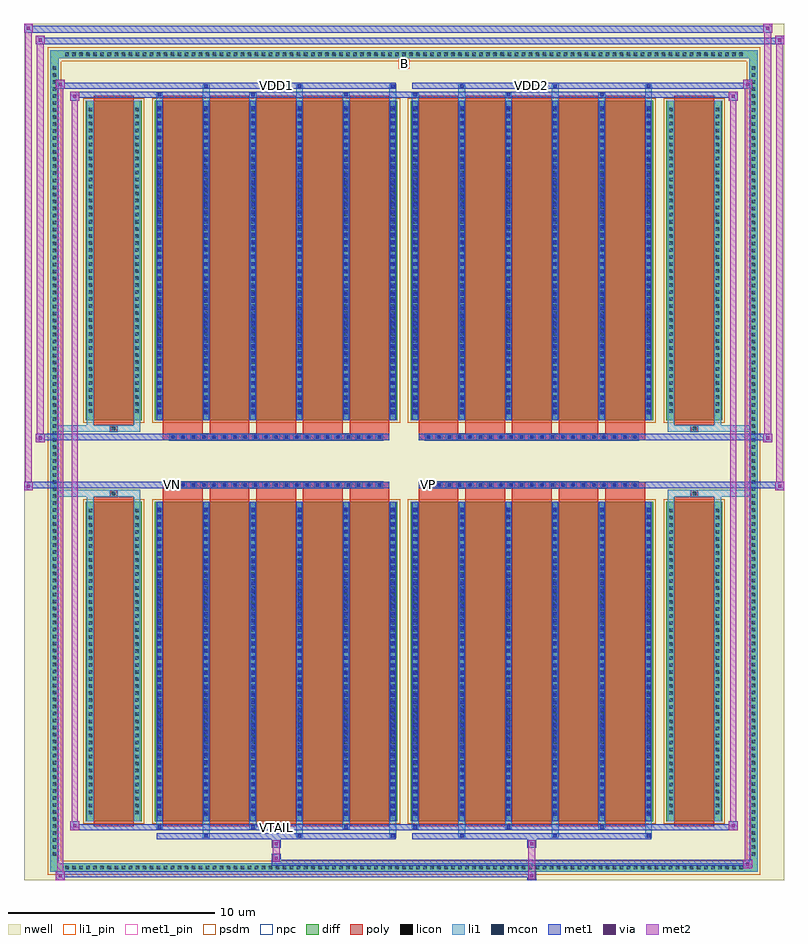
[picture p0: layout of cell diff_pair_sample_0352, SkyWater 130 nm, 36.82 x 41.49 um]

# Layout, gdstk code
import gdstk
lib = gdstk.Library(unit=1e-6, precision=5e-09)
def R(c, l, rs):  # rectangles x0, y0, x1, y1
    for r in rs: c.add(gdstk.rectangle(r[:2], r[2:], *l))
def A(c, l, x, y, w, h, nx, ny, dx, dy):  # array of equal rectangles
    R(c, l, [(x+i*dx, y+j*dy, x+i*dx+w, y+j*dy+h) for i in range(nx) for j in range(ny)])
def P(c, l, *ps):  # polygons
    for p in ps: c.add(gdstk.Polygon(p, *l))
nwell = (64, 20)
diff = (65, 20)
poly = (66, 20)
licon = (66, 44)
li1_pin = (67, 16)
li1 = (67, 20)
mcon = (67, 44)
met1_pin = (68, 16)
met1 = (68, 20)
via = (68, 44)
met2 = (69, 20)
psdm = (94, 20)
npc = (95, 20)

diff_pair_sample_0352 = lib.new_cell('diff_pair_sample_0352')
R(diff_pair_sample_0352, nwell, [(-18.41,-20.31,18.41,21.18), (-15.73,-18.5,-0.01,-0.8), (0.01,-18.5,15.73,-0.8), (-15.73,0.8,-0.01,18.5), (0.01,0.8,15.73,18.5)])
A(diff_pair_sample_0352, diff, -16.525, -19.91, 0.41, 0.41, 97, 2, 0.34, 39.41)
A(diff_pair_sample_0352, diff, -17.14, -19.245, 0.41, 0.41, 1, 113, 0, 0.34)
A(diff_pair_sample_0352, diff, 16.73, -19.245, 0.41, 0.41, 1, 113, 0, 0.34)
R(diff_pair_sample_0352, diff, [(-16.525,-19.91,16.525,-19.5), (-17.14,-19.245,-16.73,19.245), (16.73,-19.245,17.14,19.245), (-15.42,-17.455,-12.71,-1.985), (-12.07,-17.455,-0.32,-1.985), (0.32,-17.455,12.07,-1.985), (12.71,-17.455,15.42,-1.985), (-15.42,1.985,-12.71,17.455), (-12.07,1.985,-0.32,17.455), (0.32,1.985,12.07,17.455), (12.71,1.985,15.42,17.455), (-16.525,19.5,16.525,19.91)])
P(diff_pair_sample_0352, diff, [(17.14,19.91),(-17.14,19.91),(-17.14,-19.5),(-16.73,-19.5),(-16.73,19.5),(16.73,19.5),(16.73,-19.5),(-16.73,-19.5),(-17.14,-19.5),(-17.14,-19.91),(17.14,-19.91)])
A(diff_pair_sample_0352, poly, -11.68, -17.705, 1.93, 15.97, 5, 2, 2.26, 19.44)
A(diff_pair_sample_0352, poly, 0.71, -17.705, 1.93, 15.97, 5, 2, 2.26, 19.44)
A(diff_pair_sample_0352, poly, -11.68, -1.735, 1.93, 0.405, 5, 2, 2.26, 3.065)
A(diff_pair_sample_0352, poly, 0.71, -1.735, 1.93, 0.405, 5, 2, 2.26, 3.065)
A(diff_pair_sample_0352, poly, -11.36, -1.33, 0.33, 0.33, 21, 2, 0.5, 2.33)
A(diff_pair_sample_0352, poly, 1.03, -1.33, 0.33, 0.33, 21, 2, 0.5, 2.33)
R(diff_pair_sample_0352, poly, [(-15.03,-17.705,-13.1,-1.735), (13.1,-17.705,15.03,-1.735), (-14.23,-1.735,-13.9,-1.405), (-14.23,-1.735,-13.9,-1.405), (13.9,-1.735,14.23,-1.405), (13.9,-1.735,14.23,-1.405), (-11.68,-1.33,-0.71,-1), (0.71,-1.33,11.68,-1), (-11.68,1,-0.71,1.33), (0.71,1,11.68,1.33), (-14.23,1.405,-13.9,1.735), (-14.23,1.405,-13.9,1.735), (13.9,1.405,14.23,1.735), (13.9,1.405,14.23,1.735), (-15.03,1.735,-13.1,17.705), (13.1,1.735,15.03,17.705)])
A(diff_pair_sample_0352, licon, -16.405, -19.79, 0.17, 0.17, 97, 2, 0.34, 39.41)
A(diff_pair_sample_0352, licon, -17.02, -19.125, 0.17, 0.17, 1, 113, 0, 0.34)
A(diff_pair_sample_0352, licon, 16.85, -19.125, 0.17, 0.17, 1, 113, 0, 0.34)
A(diff_pair_sample_0352, licon, -15.28, -17.115, 0.17, 0.17, 1, 44, 0, 0.34)
A(diff_pair_sample_0352, licon, -13.02, -17.115, 0.17, 0.17, 1, 44, 0, 0.34)
A(diff_pair_sample_0352, licon, -11.93, -17.115, 0.17, 0.17, 6, 44, 2.26, 0.34)
A(diff_pair_sample_0352, licon, 0.46, -17.115, 0.17, 0.17, 6, 44, 2.26, 0.34)
A(diff_pair_sample_0352, licon, 12.85, -17.115, 0.17, 0.17, 1, 44, 0, 0.34)
A(diff_pair_sample_0352, licon, 15.11, -17.115, 0.17, 0.17, 1, 44, 0, 0.34)
A(diff_pair_sample_0352, licon, -11.28, -1.25, 0.17, 0.17, 21, 2, 0.5, 2.33)
A(diff_pair_sample_0352, licon, 1.11, -1.25, 0.17, 0.17, 21, 2, 0.5, 2.33)
A(diff_pair_sample_0352, licon, -15.28, 2.325, 0.17, 0.17, 1, 44, 0, 0.34)
A(diff_pair_sample_0352, licon, -13.02, 2.325, 0.17, 0.17, 1, 44, 0, 0.34)
A(diff_pair_sample_0352, licon, -11.93, 2.325, 0.17, 0.17, 6, 44, 2.26, 0.34)
A(diff_pair_sample_0352, licon, 0.46, 2.325, 0.17, 0.17, 6, 44, 2.26, 0.34)
A(diff_pair_sample_0352, licon, 12.85, 2.325, 0.17, 0.17, 1, 44, 0, 0.34)
A(diff_pair_sample_0352, licon, 15.11, 2.325, 0.17, 0.17, 1, 44, 0, 0.34)
R(diff_pair_sample_0352, licon, [(-14.15,-1.655,-13.98,-1.485), (13.98,-1.655,14.15,-1.485), (-14.15,1.485,-13.98,1.655), (13.98,1.485,14.15,1.655)])
R(diff_pair_sample_0352, li1_pin, [(-0.25,19,0.25,19.5)])
A(diff_pair_sample_0352, li1, -16.485, -19.87, 0.33, 0.33, 97, 2, 0.34, 39.41)
A(diff_pair_sample_0352, li1, -17.1, -19.205, 0.33, 0.33, 1, 113, 0, 0.34)
A(diff_pair_sample_0352, li1, 16.77, -19.205, 0.33, 0.33, 1, 113, 0, 0.34)
A(diff_pair_sample_0352, li1, -9.75, -18.26, 0.33, 0.805, 3, 2, 4.52, 35.715)
A(diff_pair_sample_0352, li1, -9.67, -18.26, 0.17, 0.17, 3, 2, 4.52, 36.35)
A(diff_pair_sample_0352, li1, 2.64, -18.26, 0.33, 0.805, 3, 2, 4.52, 35.715)
A(diff_pair_sample_0352, li1, 2.72, -18.26, 0.17, 0.17, 3, 2, 4.52, 36.35)
A(diff_pair_sample_0352, li1, -12.01, -17.83, 0.33, 0.375, 3, 2, 4.52, 35.285)
A(diff_pair_sample_0352, li1, -11.93, -17.83, 0.17, 0.17, 3, 2, 4.52, 35.49)
A(diff_pair_sample_0352, li1, 0.38, -17.83, 0.33, 0.375, 3, 2, 4.52, 35.285)
A(diff_pair_sample_0352, li1, 0.46, -17.83, 0.17, 0.17, 3, 2, 4.52, 35.49)
A(diff_pair_sample_0352, li1, -12.01, -17.455, 0.33, 15.47, 6, 2, 2.26, 19.44)
A(diff_pair_sample_0352, li1, 0.38, -17.455, 0.33, 15.47, 6, 2, 2.26, 19.44)
A(diff_pair_sample_0352, li1, -15.36, -17.195, 0.33, 0.33, 1, 44, 0, 0.34)
A(diff_pair_sample_0352, li1, -13.1, -17.195, 0.33, 0.33, 1, 44, 0, 0.34)
A(diff_pair_sample_0352, li1, -12.01, -17.195, 0.33, 0.33, 6, 44, 2.26, 0.34)
A(diff_pair_sample_0352, li1, 0.38, -17.195, 0.33, 0.33, 6, 44, 2.26, 0.34)
A(diff_pair_sample_0352, li1, 12.77, -17.195, 0.33, 0.33, 1, 44, 0, 0.34)
A(diff_pair_sample_0352, li1, 15.03, -17.195, 0.33, 0.33, 1, 44, 0, 0.34)
A(diff_pair_sample_0352, li1, -11.93, -17.185, 0.17, 0.17, 6, 42, 2.26, 0.36)
A(diff_pair_sample_0352, li1, -11.93, -17.185, 0.17, 14.93, 6, 2, 2.26, 19.44)
A(diff_pair_sample_0352, li1, 0.46, -17.185, 0.17, 0.17, 6, 42, 2.26, 0.36)
A(diff_pair_sample_0352, li1, 0.46, -17.185, 0.17, 14.93, 6, 2, 2.26, 19.44)
A(diff_pair_sample_0352, li1, -11.36, -1.33, 0.33, 0.33, 21, 2, 0.5, 2.33)
A(diff_pair_sample_0352, li1, 1.03, -1.33, 0.33, 0.33, 21, 2, 0.5, 2.33)
A(diff_pair_sample_0352, li1, -15.36, 2.245, 0.33, 0.33, 1, 44, 0, 0.34)
A(diff_pair_sample_0352, li1, -13.1, 2.245, 0.33, 0.33, 1, 44, 0, 0.34)
A(diff_pair_sample_0352, li1, -12.01, 2.245, 0.33, 0.33, 6, 44, 2.26, 0.34)
A(diff_pair_sample_0352, li1, 0.38, 2.245, 0.33, 0.33, 6, 44, 2.26, 0.34)
A(diff_pair_sample_0352, li1, 12.77, 2.245, 0.33, 0.33, 1, 44, 0, 0.34)
A(diff_pair_sample_0352, li1, 15.03, 2.245, 0.33, 0.33, 1, 44, 0, 0.34)
A(diff_pair_sample_0352, li1, -11.93, 2.255, 0.17, 0.17, 6, 42, 2.26, 0.36)
A(diff_pair_sample_0352, li1, 0.46, 2.255, 0.17, 0.17, 6, 42, 2.26, 0.36)
R(diff_pair_sample_0352, li1, [(-17.14,-19.91,-16.73,-19.5), (-17.14,-19.91,-16.73,-19.5), (-16.73,-19.91,16.73,-19.5), (16.73,-19.91,17.14,-19.5), (16.73,-19.91,17.14,-19.5), (-17.14,-19.5,-16.73,19.5), (16.73,-19.5,17.14,19.5), (-15.36,-17.455,-15.03,-1.985), (-13.1,-17.455,-12.77,-1.985), (12.77,-17.455,13.1,-1.985), (15.03,-17.455,15.36,-1.985), (-15.36,-1.985,-15.03,-1.405), (-13.1,-1.985,-12.77,-1.405), (12.77,-1.985,13.1,-1.405), (15.03,-1.985,15.36,-1.405), (-17.14,-1.735,-14.23,-1.405), (-15.36,-1.735,-14.23,-1.405), (-14.23,-1.735,-13.9,-1.405), (-13.9,-1.735,-12.77,-1.405), (12.77,-1.735,13.9,-1.405), (13.9,-1.735,14.23,-1.405), (13.9,-1.735,17.14,-1.405), (14.23,-1.735,15.36,-1.405), (-17.14,1.405,-14.23,1.735), (-15.36,1.405,-14.23,1.735), (-15.36,1.405,-15.03,1.985), (-14.23,1.405,-13.9,1.735), (-13.9,1.405,-12.77,1.735), (-13.1,1.405,-12.77,1.985), (12.77,1.405,13.9,1.735), (12.77,1.405,13.1,1.985), (13.9,1.405,14.23,1.735), (13.9,1.405,17.14,1.735), (14.23,1.405,15.36,1.735), (15.03,1.405,15.36,1.985), (-15.36,1.985,-15.03,17.455), (-13.1,1.985,-12.77,17.455), (12.77,1.985,13.1,17.455), (15.03,1.985,15.36,17.455), (-17.14,19.5,-16.73,19.91), (-17.14,19.5,-16.73,19.91), (-16.73,19.5,16.73,19.91), (16.73,19.5,17.14,19.91), (16.73,19.5,17.14,19.91)])
A(diff_pair_sample_0352, mcon, -9.67, -18.26, 0.17, 0.17, 3, 2, 4.52, 36.35)
A(diff_pair_sample_0352, mcon, 2.72, -18.26, 0.17, 0.17, 3, 2, 4.52, 36.35)
A(diff_pair_sample_0352, mcon, -11.93, -17.83, 0.17, 0.17, 3, 2, 4.52, 35.49)
A(diff_pair_sample_0352, mcon, 0.46, -17.83, 0.17, 0.17, 3, 2, 4.52, 35.49)
A(diff_pair_sample_0352, mcon, -11.93, -17.185, 0.17, 0.17, 6, 42, 2.26, 0.36)
A(diff_pair_sample_0352, mcon, 0.46, -17.185, 0.17, 0.17, 6, 42, 2.26, 0.36)
A(diff_pair_sample_0352, mcon, -11.28, -1.25, 0.17, 0.17, 21, 2, 0.5, 2.33)
A(diff_pair_sample_0352, mcon, 1.11, -1.25, 0.17, 0.17, 21, 2, 0.5, 2.33)
A(diff_pair_sample_0352, mcon, -11.93, 2.255, 0.17, 0.17, 6, 42, 2.26, 0.36)
A(diff_pair_sample_0352, mcon, 0.46, 2.255, 0.17, 0.17, 6, 42, 2.26, 0.36)
R(diff_pair_sample_0352, met1_pin, [(-6.33,-17.87,-6.06,-17.6), (-11.33,-1.29,-11.06,-1.02), (1.06,-1.29,1.33,-1.02), (-6.33,18.05,-6.06,18.32), (6.06,18.05,6.33,18.32)])
A(diff_pair_sample_0352, met1, -9.73, -18.32, 0.29, 0.29, 3, 2, 4.52, 36.35)
A(diff_pair_sample_0352, met1, 2.66, -18.32, 0.29, 0.29, 3, 2, 4.52, 36.35)
A(diff_pair_sample_0352, met1, -11.99, -17.89, 0.29, 0.29, 3, 2, 4.52, 35.49)
A(diff_pair_sample_0352, met1, 0.4, -17.89, 0.29, 0.29, 3, 2, 4.52, 35.49)
A(diff_pair_sample_0352, met1, -11.99, -17.455, 0.29, 15.47, 6, 2, 2.26, 19.44)
A(diff_pair_sample_0352, met1, 0.4, -17.455, 0.29, 15.47, 6, 2, 2.26, 19.44)
A(diff_pair_sample_0352, met1, -11.99, -17.245, 0.29, 0.29, 6, 42, 2.26, 0.36)
A(diff_pair_sample_0352, met1, 0.4, -17.245, 0.29, 0.29, 6, 42, 2.26, 0.36)
A(diff_pair_sample_0352, met1, -11.34, -1.31, 0.29, 0.29, 21, 2, 0.5, 2.33)
A(diff_pair_sample_0352, met1, 1.05, -1.31, 0.29, 0.29, 21, 2, 0.5, 2.33)
A(diff_pair_sample_0352, met1, -11.99, 2.195, 0.29, 0.29, 6, 42, 2.26, 0.36)
A(diff_pair_sample_0352, met1, 0.4, 2.195, 0.29, 0.29, 6, 42, 2.26, 0.36)
R(diff_pair_sample_0352, met1, [(-16.87,-20.31,-16.44,-19.88), (5.98,-20.31,6.41,-19.88), (-16.87,-20.17,6.41,-19.88), (16.44,-19.74,16.87,-19.31), (-6.41,-19.6,16.87,-19.31), (-6.41,-19.46,-5.98,-19.03), (-6.41,-18.75,-5.98,-18.32), (5.98,-18.75,6.41,-18.32), (-11.99,-18.32,-0.4,-18.03), (0.4,-18.32,11.99,-18.03), (-16.16,-17.89,-15.73,-17.46), (-16.16,-17.89,-11.99,-17.6), (-11.99,-17.89,-0.4,-17.6), (-0.4,-17.89,0.4,-17.6), (0.4,-17.89,11.99,-17.6), (11.99,-17.89,16.16,-17.6), (15.73,-17.89,16.16,-17.46), (-18.41,-1.43,-17.98,-1), (17.98,-1.43,18.41,-1), (-18.41,-1.33,-0.71,-1), (-11.68,-1.33,-0.71,-1), (0.71,-1.33,11.68,-1), (0.71,-1.33,18.41,-1), (-17.84,0.9,-17.41,1.33), (17.41,0.9,17.84,1.33), (-17.84,1,-11.68,1.33), (-11.68,1,-0.71,1.33), (0.71,1,11.68,1.33), (11.68,1,17.84,1.33), (-16.16,17.46,-15.73,17.89), (15.73,17.46,16.16,17.89), (-16.16,17.6,-11.99,17.89), (-11.99,17.6,-0.4,17.89), (-0.4,17.6,0.4,17.89), (0.4,17.6,11.99,17.89), (11.99,17.6,16.16,17.89), (-16.87,18.03,-16.44,18.46), (-16.87,18.03,-11.99,18.32), (-11.99,18.03,-0.4,18.32), (0.4,18.03,11.99,18.32), (11.99,18.03,16.87,18.32), (16.44,18.03,16.87,18.46), (-17.84,20.18,-17.41,20.61), (-17.84,20.18,-15.73,20.51), (-15.73,20.18,15.73,20.51), (15.73,20.18,18.41,20.51), (17.98,20.18,18.41,20.61), (-18.41,20.75,-17.98,21.18), (-18.41,20.75,-15.73,21.08), (-15.73,20.75,15.73,21.08), (15.73,20.75,17.84,21.08), (17.41,20.75,17.84,21.18)])
R(diff_pair_sample_0352, via, [(-16.73,-20.17,-16.58,-20.02), (6.12,-20.17,6.27,-20.02), (16.58,-19.6,16.73,-19.45), (-6.27,-19.32,-6.12,-19.17), (-6.27,-18.61,-6.12,-18.46), (6.12,-18.61,6.27,-18.46), (-16.02,-17.75,-15.87,-17.6), (15.87,-17.75,16.02,-17.6), (-18.27,-1.29,-18.12,-1.14), (18.12,-1.29,18.27,-1.14), (-17.7,1.04,-17.55,1.19), (17.55,1.04,17.7,1.19), (-16.02,17.6,-15.87,17.75), (15.87,17.6,16.02,17.75), (-16.73,18.17,-16.58,18.32), (16.58,18.17,16.73,18.32), (-17.7,20.32,-17.55,20.47), (18.12,20.32,18.27,20.47), (-18.27,20.89,-18.12,21.04), (17.55,20.89,17.7,21.04)])
R(diff_pair_sample_0352, met2, [(-16.87,-20.31,-16.44,-19.88), (-16.8,-20.31,-16.51,18.46), (-16.51,-20.31,-16.44,-19.88), (-16.82,-20.26,-16.49,-19.93), (6.03,-20.26,6.36,-19.93), (6.03,-19.93,6.36,-18.7), (16.44,-19.74,16.87,-19.31), (16.51,-19.74,16.8,18.46), (16.8,-19.74,16.87,-19.31), (16.49,-19.69,16.82,-19.36), (-6.36,-19.41,-6.03,-19.08), (-6.36,-19.08,-6.03,-18.7), (-6.36,-18.7,-6.03,-18.37), (6.03,-18.7,6.36,-18.37), (-16.16,-17.89,-15.73,-17.46), (-16.09,-17.89,-15.8,17.89), (-15.8,-17.89,-15.73,-17.46), (15.73,-17.89,16.16,-17.46), (15.8,-17.89,16.09,17.89), (16.09,-17.89,16.16,-17.46), (-16.11,-17.84,-15.78,-17.51), (15.78,-17.84,16.11,-17.51), (-18.41,-1.43,-17.98,-1), (-18.36,-1.43,-18.03,21.18), (-18.03,-1.43,-17.98,-1), (17.98,-1.43,18.41,-1), (18.03,-1.43,18.36,20.61), (18.36,-1.43,18.41,-1), (-18.36,-1.38,-18.03,-1.05), (18.03,-1.38,18.36,-1.05), (-17.84,0.9,-17.41,1.33), (-17.79,0.9,-17.46,20.61), (-17.46,0.9,-17.41,1.33), (17.41,0.9,17.84,1.33), (17.46,0.9,17.79,21.18), (17.79,0.9,17.84,1.33), (-17.79,0.95,-17.46,1.28), (17.46,0.95,17.79,1.28), (-16.16,17.46,-15.73,17.89), (-15.8,17.46,-15.73,17.89), (15.73,17.46,16.16,17.89), (16.09,17.46,16.16,17.89), (-16.11,17.51,-15.78,17.84), (15.78,17.51,16.11,17.84), (-16.87,18.03,-16.44,18.46), (-16.51,18.03,-16.44,18.46), (16.44,18.03,16.87,18.46), (16.8,18.03,16.87,18.46), (-16.82,18.08,-16.49,18.41), (16.49,18.08,16.82,18.41), (-17.84,20.18,-17.41,20.61), (-17.46,20.18,-17.41,20.61), (17.98,20.18,18.41,20.61), (18.36,20.18,18.41,20.61), (-17.79,20.23,-17.46,20.56), (18.03,20.23,18.36,20.56), (-18.41,20.75,-17.98,21.18), (-18.03,20.75,-17.98,21.18), (17.41,20.75,17.84,21.18), (17.79,20.75,17.84,21.18), (-18.36,20.8,-18.03,21.13), (17.46,20.8,17.79,21.13)])
R(diff_pair_sample_0352, psdm, [(-15.55,-17.585,-12.58,-1.855), (-12.2,-17.585,-0.19,-1.855), (0.19,-17.585,12.2,-1.855), (12.58,-17.585,15.55,-1.855), (-15.55,1.855,-12.58,17.585), (-12.2,1.855,-0.19,17.585), (0.19,1.855,12.2,17.585), (12.58,1.855,15.55,17.585)])
P(diff_pair_sample_0352, psdm, [(17.27,20.04),(-17.27,20.04),(-17.27,-19.37),(-16.6,-19.37),(-16.6,19.37),(16.6,19.37),(16.6,-19.37),(-16.6,-19.37),(-17.27,-19.37),(-17.27,-20.04),(17.27,-20.04)])
A(diff_pair_sample_0352, npc, -11.38, -1.35, 0.37, 0.37, 21, 2, 0.5, 2.33)
A(diff_pair_sample_0352, npc, 1.01, -1.35, 0.37, 0.37, 21, 2, 0.5, 2.33)
R(diff_pair_sample_0352, npc, [(-14.25,-1.755,-13.88,-1.385), (13.88,-1.755,14.25,-1.385), (-11.38,-1.35,-10.51,-0.98), (-11.38,-1.35,-10.51,-0.98), (-10.88,-1.35,-10.01,-0.98), (-10.88,-1.35,-10.01,-0.98), (-10.38,-1.35,-9.51,-0.98), (-10.38,-1.35,-9.51,-0.98), (-9.88,-1.35,-9.01,-0.98), (-9.88,-1.35,-9.01,-0.98), (-9.38,-1.35,-8.51,-0.98), (-9.38,-1.35,-8.51,-0.98), (-8.88,-1.35,-8.01,-0.98), (-8.88,-1.35,-8.01,-0.98), (-8.38,-1.35,-7.51,-0.98), (-8.38,-1.35,-7.51,-0.98), (-7.88,-1.35,-7.01,-0.98), (-7.88,-1.35,-7.01,-0.98), (-7.38,-1.35,-6.51,-0.98), (-7.38,-1.35,-6.51,-0.98), (-6.88,-1.35,-6.01,-0.98), (-6.88,-1.35,-6.01,-0.98), (-6.38,-1.35,-5.51,-0.98), (-6.38,-1.35,-5.51,-0.98), (-5.88,-1.35,-5.01,-0.98), (-5.88,-1.35,-5.01,-0.98), (-5.38,-1.35,-4.51,-0.98), (-5.38,-1.35,-4.51,-0.98), (-4.88,-1.35,-4.01,-0.98), (-4.88,-1.35,-4.01,-0.98), (-4.38,-1.35,-3.51,-0.98), (-4.38,-1.35,-3.51,-0.98), (-3.88,-1.35,-3.01,-0.98), (-3.88,-1.35,-3.01,-0.98), (-3.38,-1.35,-2.51,-0.98), (-3.38,-1.35,-2.51,-0.98), (-2.88,-1.35,-2.01,-0.98), (-2.88,-1.35,-2.01,-0.98), (-2.38,-1.35,-1.51,-0.98), (-2.38,-1.35,-1.51,-0.98), (-1.88,-1.35,-1.01,-0.98), (-1.88,-1.35,-1.01,-0.98), (1.01,-1.35,1.88,-0.98), (1.01,-1.35,1.88,-0.98), (1.51,-1.35,2.38,-0.98), (1.51,-1.35,2.38,-0.98), (2.01,-1.35,2.88,-0.98), (2.01,-1.35,2.88,-0.98), (2.51,-1.35,3.38,-0.98), (2.51,-1.35,3.38,-0.98), (3.01,-1.35,3.88,-0.98), (3.01,-1.35,3.88,-0.98), (3.51,-1.35,4.38,-0.98), (3.51,-1.35,4.38,-0.98), (4.01,-1.35,4.88,-0.98), (4.01,-1.35,4.88,-0.98), (4.51,-1.35,5.38,-0.98), (4.51,-1.35,5.38,-0.98), (5.01,-1.35,5.88,-0.98), (5.01,-1.35,5.88,-0.98), (5.51,-1.35,6.38,-0.98), (5.51,-1.35,6.38,-0.98), (6.01,-1.35,6.88,-0.98), (6.01,-1.35,6.88,-0.98), (6.51,-1.35,7.38,-0.98), (6.51,-1.35,7.38,-0.98), (7.01,-1.35,7.88,-0.98), (7.01,-1.35,7.88,-0.98), (7.51,-1.35,8.38,-0.98), (7.51,-1.35,8.38,-0.98), (8.01,-1.35,8.88,-0.98), (8.01,-1.35,8.88,-0.98), (8.51,-1.35,9.38,-0.98), (8.51,-1.35,9.38,-0.98), (9.01,-1.35,9.88,-0.98), (9.01,-1.35,9.88,-0.98), (9.51,-1.35,10.38,-0.98), (9.51,-1.35,10.38,-0.98), (10.01,-1.35,10.88,-0.98), (10.01,-1.35,10.88,-0.98), (10.51,-1.35,11.38,-0.98), (10.51,-1.35,11.38,-0.98), (-11.38,0.98,-10.51,1.35), (-11.38,0.98,-10.51,1.35), (-10.88,0.98,-10.01,1.35), (-10.88,0.98,-10.01,1.35), (-10.38,0.98,-9.51,1.35), (-10.38,0.98,-9.51,1.35), (-9.88,0.98,-9.01,1.35), (-9.88,0.98,-9.01,1.35), (-9.38,0.98,-8.51,1.35), (-9.38,0.98,-8.51,1.35), (-8.88,0.98,-8.01,1.35), (-8.88,0.98,-8.01,1.35), (-8.38,0.98,-7.51,1.35), (-8.38,0.98,-7.51,1.35), (-7.88,0.98,-7.01,1.35), (-7.88,0.98,-7.01,1.35), (-7.38,0.98,-6.51,1.35), (-7.38,0.98,-6.51,1.35), (-6.88,0.98,-6.01,1.35), (-6.88,0.98,-6.01,1.35), (-6.38,0.98,-5.51,1.35), (-6.38,0.98,-5.51,1.35), (-5.88,0.98,-5.01,1.35), (-5.88,0.98,-5.01,1.35), (-5.38,0.98,-4.51,1.35), (-5.38,0.98,-4.51,1.35), (-4.88,0.98,-4.01,1.35), (-4.88,0.98,-4.01,1.35), (-4.38,0.98,-3.51,1.35), (-4.38,0.98,-3.51,1.35), (-3.88,0.98,-3.01,1.35), (-3.88,0.98,-3.01,1.35), (-3.38,0.98,-2.51,1.35), (-3.38,0.98,-2.51,1.35), (-2.88,0.98,-2.01,1.35), (-2.88,0.98,-2.01,1.35), (-2.38,0.98,-1.51,1.35), (-2.38,0.98,-1.51,1.35), (-1.88,0.98,-1.01,1.35), (-1.88,0.98,-1.01,1.35), (1.01,0.98,1.88,1.35), (1.01,0.98,1.88,1.35), (1.51,0.98,2.38,1.35), (1.51,0.98,2.38,1.35), (2.01,0.98,2.88,1.35), (2.01,0.98,2.88,1.35), (2.51,0.98,3.38,1.35), (2.51,0.98,3.38,1.35), (3.01,0.98,3.88,1.35), (3.01,0.98,3.88,1.35), (3.51,0.98,4.38,1.35), (3.51,0.98,4.38,1.35), (4.01,0.98,4.88,1.35), (4.01,0.98,4.88,1.35), (4.51,0.98,5.38,1.35), (4.51,0.98,5.38,1.35), (5.01,0.98,5.88,1.35), (5.01,0.98,5.88,1.35), (5.51,0.98,6.38,1.35), (5.51,0.98,6.38,1.35), (6.01,0.98,6.88,1.35), (6.01,0.98,6.88,1.35), (6.51,0.98,7.38,1.35), (6.51,0.98,7.38,1.35), (7.01,0.98,7.88,1.35), (7.01,0.98,7.88,1.35), (7.51,0.98,8.38,1.35), (7.51,0.98,8.38,1.35), (8.01,0.98,8.88,1.35), (8.01,0.98,8.88,1.35), (8.51,0.98,9.38,1.35), (8.51,0.98,9.38,1.35), (9.01,0.98,9.88,1.35), (9.01,0.98,9.88,1.35), (9.51,0.98,10.38,1.35), (9.51,0.98,10.38,1.35), (10.01,0.98,10.88,1.35), (10.01,0.98,10.88,1.35), (10.51,0.98,11.38,1.35), (10.51,0.98,11.38,1.35), (-14.25,1.385,-13.88,1.755), (13.88,1.385,14.25,1.755)])
diff_pair_sample_0352.add(gdstk.Label('VTAIL', (-6.195,-17.735), layer=68, texttype=5))
diff_pair_sample_0352.add(gdstk.Label('VN', (-11.195,-1.155), layer=68, texttype=5))
diff_pair_sample_0352.add(gdstk.Label('VP', (1.195,-1.155), layer=68, texttype=5))
diff_pair_sample_0352.add(gdstk.Label('B', (0,19.25), layer=67, texttype=5))
diff_pair_sample_0352.add(gdstk.Label('VDD2', (6.195,18.185), layer=68, texttype=5))
diff_pair_sample_0352.add(gdstk.Label('VDD1', (-6.195,18.185), layer=68, texttype=5))

lib.write_gds('diff_pair_sample_0352.gds')
